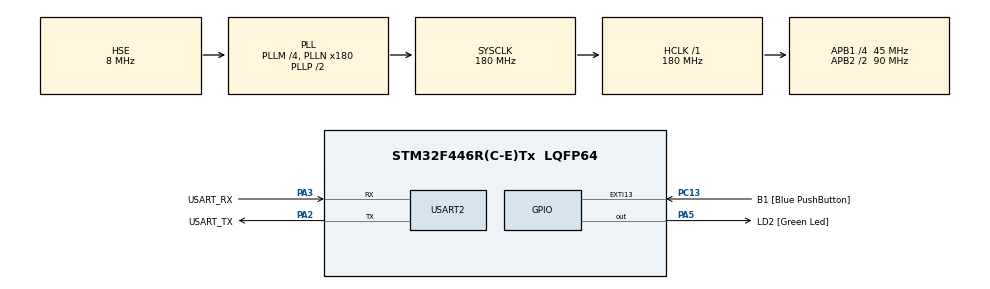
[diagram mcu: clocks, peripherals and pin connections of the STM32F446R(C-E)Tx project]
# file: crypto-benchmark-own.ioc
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Mcu.Family=STM32F4
Mcu.Name=STM32F446R(C-E)Tx
Mcu.Package=LQFP64
NVIC.PriorityGroup=NVIC_PRIORITYGROUP_0
PA13.GPIO_Label=TMS
PA13.Mode=Serial_Wire
PA13.Signal=SYS_JTMS-SWDIO
PA14.GPIO_Label=TCK
PA14.Mode=Serial_Wire
PA14.Signal=SYS_JTCK-SWCLK
PA2.GPIO_Label=USART_TX
PA2.Mode=Asynchronous
PA2.Signal=USART2_TX
PA3.GPIO_Label=USART_RX
PA3.Mode=Asynchronous
PA3.Signal=USART2_RX
PA5.GPIO_Label=LD2 [Green Led]
PA5.Signal=GPIO_Output
PB3.GPIO_Label=SWO
PB3.Signal=SYS_JTDO-SWO
PC13.GPIO_Label=B1 [Blue PushButton]
PC13.GPIO_ModeDefaultEXTI=GPIO_MODE_IT_FALLING
PC13.Signal=GPXTI13
PC14-OSC32_IN.Mode=LSE-External-Oscillator
PC14-OSC32_IN.Signal=RCC_OSC32_IN
PC15-OSC32_OUT.Mode=LSE-External-Oscillator
PC15-OSC32_OUT.Signal=RCC_OSC32_OUT
PH0-OSC_IN.Mode=HSE-External-Oscillator
PH0-OSC_IN.Signal=RCC_OSC_IN
PH1-OSC_OUT.Mode=HSE-External-Oscillator
PH1-OSC_OUT.Signal=RCC_OSC_OUT
ProjectManager.HeapSize=0x200
ProjectManager.StackSize=0x400
ProjectManager.TargetToolchain=STM32CubeIDE
RCC.48MHZClocksFreq_Value=84000000
RCC.AHBFreq_Value=180000000
RCC.APB1CLKDivider=RCC_HCLK_DIV4
RCC.APB1Freq_Value=45000000
RCC.APB1TimFreq_Value=90000000
RCC.APB2CLKDivider=RCC_HCLK_DIV2
RCC.APB2Freq_Value=90000000
RCC.APB2TimFreq_Value=180000000
RCC.CortexFreq_Value=180000000
RCC.FLatency-AdvancedSettings=FLASH_LATENCY_5
RCC.HCLKFreq_Value=180000000
RCC.HSE_VALUE=8000000
RCC.HSI_VALUE=16000000
RCC.PLLM=4
RCC.PLLN=180
RCC.PLLSourceVirtual=RCC_PLLSOURCE_HSE
RCC.SYSCLKFreq_VALUE=180000000
RCC.SYSCLKSource=RCC_SYSCLKSOURCE_PLLCLK
RCC.USBFreq_Value=180000000
RCC.VCOOutputFreq_Value=360000000
USART2.VirtualMode=VM_ASYNC
VP_CRC_VS_CRC.Mode=CRC_Activate
board=NUCLEO-F446RE

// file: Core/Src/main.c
/* USER CODE BEGIN Header */
/**
  ******************************************************************************
  * @file           : main.c
  * @brief          : Main program body
  ******************************************************************************
  * @attention
  *
  * Copyright (c) 2024 STMicroelectronics.
  * All rights reserved.
  *
  * This software is licensed under terms that can be found in the LICENSE file
  * in the root directory of this software component.
  * If no LICENSE file comes with this software, it is provided AS-IS.
  *
  ******************************************************************************
  */
/* USER CODE END Header */
#include "main.h"

#include <string.h>
#include <stdio.h>
#include "aes.h"

/* USER CODE BEGIN PD */
#define ECB 1
#define USE_AES_ECB
//#define CBC 1
//#define USE_AES_CBC
/* USER CODE END PD */

CRC_HandleTypeDef hcrc;

UART_HandleTypeDef huart2;

void SystemClock_Config(void);
static void MX_GPIO_Init(void);
static void MX_USART2_UART_Init(void);
static void MX_CRC_Init(void);

/* USER CODE BEGIN 0 */
// prints string as hex

#if defined(USE_AES_ECB)
    uint8_t key[] = { 0x40, 0x41, 0x42, 0x43, 0x44, 0x45, 0x46, 0x47, 0x48, 0x49, 0x4a, 0x4b, 0x4c, 0x4d, 0x4e, 0x4f };
    uint8_t out[] = { 0x8D, 0x16, 0x7C, 0x19, 0x9E, 0x62, 0xFD, 0x1D, 0x3F, 0x9F, 0x0D, 0x68, 0x38, 0xC5, 0xF8, 0xA4 };
    uint8_t in_dec[]  = { 0x8D, 0x16, 0x7C, 0x19, 0x9E, 0x62, 0xFD, 0x1D, 0x3F, 0x9F, 0x0D, 0x68, 0x38, 0xC5, 0xF8, 0xA4 };
#endif

#if defined(USE_AES_CBC)
    uint8_t key[] = { 0x40, 0x41, 0x42, 0x43, 0x44, 0x45, 0x46, 0x47, 0x48, 0x49, 0x4a, 0x4b, 0x4c, 0x4d, 0x4e, 0x4f };
    uint8_t in_dec[]  = { 0xDC, 0x19, 0xE0, 0xF1, 0x38, 0x8B, 0x06, 0x21, 0x1C, 0xD1, 0xB2, 0x7E, 0xA2, 0x10, 0xD8, 0xD0 };

#endif
    uint8_t iv[]  = { 0x00, 0x01, 0x02, 0x03, 0x04, 0x05, 0x06, 0x07, 0x08, 0x09, 0x0a, 0x0b, 0x0c, 0x0d, 0x0e, 0x0f };
    uint8_t in[]  = { 0x6b, 0xc1, 0xbe, 0xe2, 0x2e, 0x40, 0x9f, 0x96, 0xe9, 0x3d, 0x7e, 0x11, 0x73, 0x93, 0x5f, 0x12 };
    struct AES_ctx ctx;

    uint8_t out_dec[] = { 0x6b, 0xc1, 0xbe, 0xe2, 0x2e, 0x40, 0x9f, 0x96, 0xe9, 0x3d, 0x7e, 0x11, 0x73, 0x93, 0x5f, 0x12 };

static int test_encrypt_ecb(void)
{
    AES_init_ctx(&ctx, key);
    AES_ECB_encrypt(&ctx, in);

    //printf("ECB encrypt: ");

//    if (0 == memcmp((char*) out, (char*) in, 16)) {
////        printf("SUCCESS!\n");
//	return(0);
//    } else {
////        printf("FAILURE!\n");
//	return(1);
//    }
    return 0;
}

static int test_decrypt_cbc(void)
{
    AES_init_ctx_iv(&ctx, key, iv);
    AES_CBC_decrypt_buffer(&ctx, in_dec, 16);

//    printf("CBC decrypt: ");

//    if (0 == memcmp((char*) out, (char*) in, 16)) {
////        printf("SUCCESS!\n");
//	return(0);
//    } else {
////        printf("FAILURE!\n");
//	return(1);
//    }
    return 0;
}

static int test_encrypt_cbc(void)
{
    AES_init_ctx_iv(&ctx, key, iv);
    AES_CBC_encrypt_buffer(&ctx, in, 16);

//    printf("CBC encrypt: ");

//    if (0 == memcmp((char*) out, (char*) in, 16)) {
////        printf("SUCCESS!\n");
//	return(0);
//    } else {
////        printf("FAILURE!\n");
//	return(1);
//    }
    return 0;
}

static int test_decrypt_ecb(void)
{
    AES_init_ctx(&ctx, key);
    AES_ECB_decrypt(&ctx, in_dec);

    //printf("ECB decrypt: ");

//    if (0 == memcmp((char*) out, (char*) in, 16)) {
////        printf("SUCCESS!\n");
//	return(0);
//    } else {
////        printf("FAILURE!\n");
//	return(1);
//    }
    return 0;
}
/* USER CODE END 0 */

int main(void)
{

  /* MCU Configuration--------------------------------------------------------*/

  /* Reset of all peripherals, Initializes the Flash interface and the Systick. */
  HAL_Init();

  /* Configure the system clock */
  SystemClock_Config();

  /* Initialize all configured peripherals */
  MX_GPIO_Init();
  MX_USART2_UART_Init();
  MX_CRC_Init();
  /* USER CODE BEGIN 2 */
  HAL_UART_Transmit(&huart2, (uint8_t *)"Piotr Slawecki & Jan Chyczynski - Crypto Alg test for STM32F446:\n\r", strlen("Piotr Slawecki & Jan Chyczynski - Crypto Alg test for STM32F446:\n\r"), 100);
#ifdef USE_AES_CBC
  uint32_t start_millis = HAL_GetTick();
  uint32_t res;
  for(int i = 0; i < 10000; i++) {
	 res = test_encrypt_cbc();
	 res = test_decrypt_cbc();
  }
  uint32_t stop_millis = HAL_GetTick();
  uint32_t result = stop_millis - start_millis;
      /* Turn on the green led in case of AES CBC operations are succssfuls*/
  uint8_t buff[50];
  sprintf(buff, "Elapsed (TinyAES CBC 10k ops): %ld\n\r", result);
  HAL_UART_Transmit(&huart2, (uint8_t *)buff, strlen(buff), 100);
#endif

#ifdef USE_AES_ECB
  uint32_t start_millis = HAL_GetTick();
  uint32_t res;
  for(int i = 0; i < 10000; i++) {
	 res = test_encrypt_ecb();
	 res = test_decrypt_ecb();
  }
  uint32_t stop_millis = HAL_GetTick();
  uint32_t result = stop_millis - start_millis;
      /* Turn on the green led in case of AES CBC operations are succssfuls*/
  uint8_t buff[50];
  sprintf(buff, "Elapsed (TinyAES ECB 10k ops): %ld\n\r", result);
  HAL_UART_Transmit(&huart2, (uint8_t *)buff, strlen(buff), 100);
#endif

  /* USER CODE END 2 */

  /* Infinite loop */
  /* USER CODE BEGIN WHILE */

      while (1)
      {

  //  	  const char message[];

    	  int exit = test_encrypt_cbc() + test_decrypt_cbc() +
    	  test_decrypt_ecb() + test_encrypt_ecb();

        /* USER CODE END WHILE */

      }
  }
void SystemClock_Config(void)
{
  RCC_OscInitTypeDef RCC_OscInitStruct = {0};
  RCC_ClkInitTypeDef RCC_ClkInitStruct = {0};

  /** Configure the main internal regulator output voltage
  */
  __HAL_RCC_PWR_CLK_ENABLE();
  __HAL_PWR_VOLTAGESCALING_CONFIG(PWR_REGULATOR_VOLTAGE_SCALE1);

  /** Initializes the RCC Oscillators according to the specified parameters
  * in the RCC_OscInitTypeDef structure.
  */
  RCC_OscInitStruct.OscillatorType = RCC_OSCILLATORTYPE_HSE;
  RCC_OscInitStruct.HSEState = RCC_HSE_ON;
  RCC_OscInitStruct.PLL.PLLState = RCC_PLL_ON;
  RCC_OscInitStruct.PLL.PLLSource = RCC_PLLSOURCE_HSE;
  RCC_OscInitStruct.PLL.PLLM = 4;
  RCC_OscInitStruct.PLL.PLLN = 180;
  RCC_OscInitStruct.PLL.PLLP = RCC_PLLP_DIV2;
  RCC_OscInitStruct.PLL.PLLQ = 2;
  RCC_OscInitStruct.PLL.PLLR = 2;
  if (HAL_RCC_OscConfig(&RCC_OscInitStruct) != HAL_OK)
  {
    Error_Handler();
  }

  /** Activate the Over-Drive mode
  */
  if (HAL_PWREx_EnableOverDrive() != HAL_OK)
  {
    Error_Handler();
  }

  /** Initializes the CPU, AHB and APB buses clocks
  */
  RCC_ClkInitStruct.ClockType = RCC_CLOCKTYPE_HCLK|RCC_CLOCKTYPE_SYSCLK
                              |RCC_CLOCKTYPE_PCLK1|RCC_CLOCKTYPE_PCLK2;
  RCC_ClkInitStruct.SYSCLKSource = RCC_SYSCLKSOURCE_PLLCLK;
  RCC_ClkInitStruct.AHBCLKDivider = RCC_SYSCLK_DIV1;
  RCC_ClkInitStruct.APB1CLKDivider = RCC_HCLK_DIV4;
  RCC_ClkInitStruct.APB2CLKDivider = RCC_HCLK_DIV2;

  if (HAL_RCC_ClockConfig(&RCC_ClkInitStruct, FLASH_LATENCY_5) != HAL_OK)
  {
    Error_Handler();
  }
}

static void MX_CRC_Init(void)
{

  hcrc.Instance = CRC;
  if (HAL_CRC_Init(&hcrc) != HAL_OK)
  {
    Error_Handler();
  }

}

static void MX_USART2_UART_Init(void)
{

  huart2.Instance = USART2;
  huart2.Init.BaudRate = 115200;
  huart2.Init.WordLength = UART_WORDLENGTH_8B;
  huart2.Init.StopBits = UART_STOPBITS_1;
  huart2.Init.Parity = UART_PARITY_NONE;
  huart2.Init.Mode = UART_MODE_TX_RX;
  huart2.Init.HwFlowCtl = UART_HWCONTROL_NONE;
  huart2.Init.OverSampling = UART_OVERSAMPLING_16;
  if (HAL_UART_Init(&huart2) != HAL_OK)
  {
    Error_Handler();
  }

}

static void MX_GPIO_Init(void)
{
  GPIO_InitTypeDef GPIO_InitStruct = {0};

  /* GPIO Ports Clock Enable */
  __HAL_RCC_GPIOC_CLK_ENABLE();
  __HAL_RCC_GPIOH_CLK_ENABLE();
  __HAL_RCC_GPIOA_CLK_ENABLE();
  __HAL_RCC_GPIOB_CLK_ENABLE();

  /*Configure GPIO pin Output Level */
  HAL_GPIO_WritePin(LD2_GPIO_Port, LD2_Pin, GPIO_PIN_RESET);

  /*Configure GPIO pin : B1_Pin */
  GPIO_InitStruct.Pin = B1_Pin;
  GPIO_InitStruct.Mode = GPIO_MODE_IT_FALLING;
  GPIO_InitStruct.Pull = GPIO_NOPULL;
  HAL_GPIO_Init(B1_GPIO_Port, &GPIO_InitStruct);

  /*Configure GPIO pin : LD2_Pin */
  GPIO_InitStruct.Pin = LD2_Pin;
  GPIO_InitStruct.Mode = GPIO_MODE_OUTPUT_PP;
  GPIO_InitStruct.Pull = GPIO_NOPULL;
  GPIO_InitStruct.Speed = GPIO_SPEED_FREQ_LOW;
  HAL_GPIO_Init(LD2_GPIO_Port, &GPIO_InitStruct);

}

void Error_Handler(void)
{
  __disable_irq();
  while (1)
  {
  }
}
